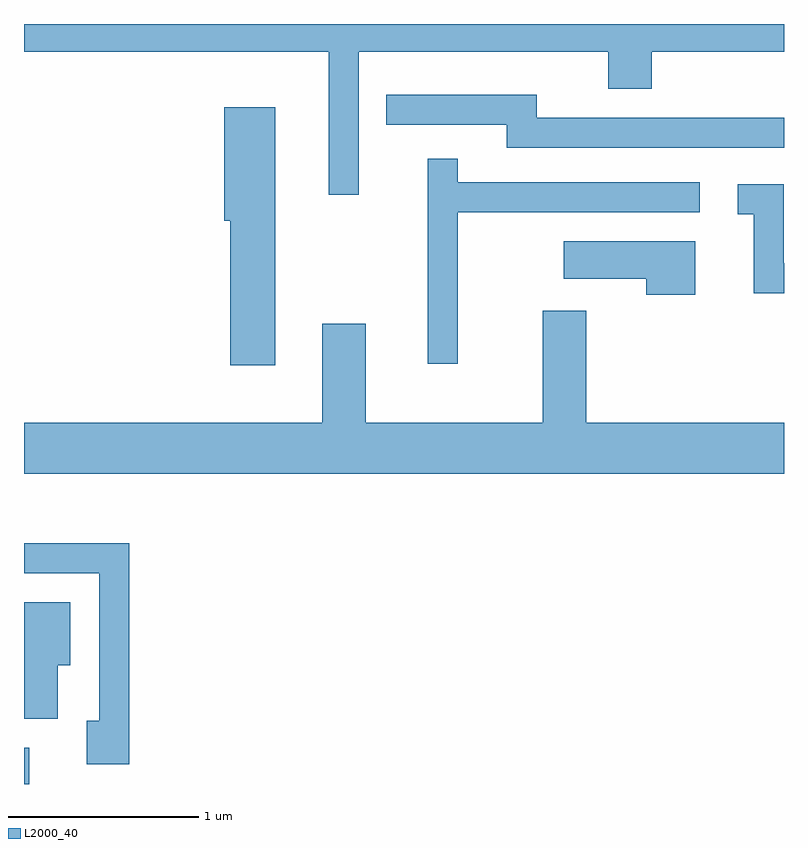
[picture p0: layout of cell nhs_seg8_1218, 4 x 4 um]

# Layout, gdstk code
import gdstk
lib = gdstk.Library(unit=1e-6, precision=1e-09)
def R(c, l, rs):  # rectangles x0, y0, x1, y1
    for r in rs: c.add(gdstk.rectangle(r[:2], r[2:], *l))
def P(c, l, *ps):  # polygons
    for p in ps: c.add(gdstk.Polygon(p, *l))
L2000_40 = (2000, 40)

nhs_seg8_1218 = lib.new_cell('nhs_seg8_1218')
R(nhs_seg8_1218, L2000_40, [(221.611,1830.342,221.639,1830.534)])
P(nhs_seg8_1218, L2000_40, [(223.374,1834.196),(224.686,1834.196),(224.686,1834.001),(224.914,1834.001),(224.914,1834.196),(225.611,1834.196),(225.611,1834.342),(221.611,1834.342),(221.611,1834.196),(223.216,1834.196),(223.216,1833.443),(223.374,1833.443)],
  [(225.611,1833.849),(224.309,1833.849),(224.309,1833.969),(223.518,1833.969),(223.518,1833.811),(224.151,1833.811),(224.151,1833.691),(225.611,1833.691)],
  [(222.934,1833.904),(222.666,1833.904),(222.666,1833.306),(222.696,1833.306),(222.696,1832.546),(222.934,1832.546)],
  [(223.894,1833.351),(225.168,1833.351),(225.168,1833.509),(223.894,1833.509),(223.894,1833.633),(223.736,1833.633),(223.736,1832.553),(223.894,1832.553)],
  [(225.611,1833.084),(225.609,1833.084),(225.609,1833.499),(225.368,1833.499),(225.368,1833.341),(225.451,1833.341),(225.451,1832.926),(225.611,1832.926)],
  [(225.144,1833.199),(224.451,1833.199),(224.451,1833.001),(224.886,1833.001),(224.886,1832.916),(225.144,1832.916)],
  [(225.611,1832.244),(224.569,1832.244),(224.569,1832.834),(224.341,1832.834),(224.341,1832.244),(223.409,1832.244),(223.409,1832.764),(223.181,1832.764),(223.181,1832.244),(221.611,1832.244),(221.611,1831.976),(225.611,1831.976)],
  [(222.164,1831.609),(221.611,1831.609),(221.611,1831.451),(222.006,1831.451),(222.006,1830.674),(221.941,1830.674),(221.941,1830.446),(222.164,1830.446)],
  [(221.789,1830.966),(221.854,1830.966),(221.854,1831.299),(221.611,1831.299),(221.611,1830.686),(221.789,1830.686)])

lib.write_gds('nhs_seg8_1218.gds')
